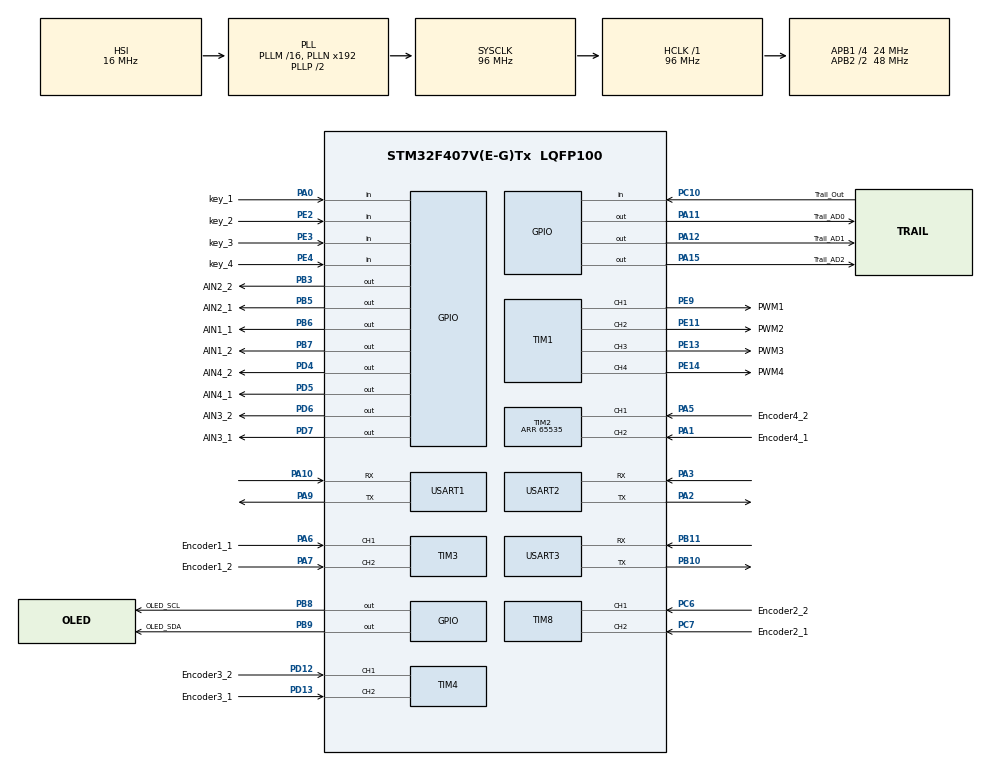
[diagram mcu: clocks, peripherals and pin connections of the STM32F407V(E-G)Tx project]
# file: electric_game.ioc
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Dma.Request0=USART1_TX
Dma.Request1=USART1_RX
Dma.Request2=USART2_RX
Dma.Request3=USART2_TX
Dma.Request4=USART3_RX
Dma.Request5=USART3_TX
Dma.USART1_RX.1.Direction=DMA_PERIPH_TO_MEMORY
Dma.USART1_RX.1.FIFOMode=DMA_FIFOMODE_DISABLE
Dma.USART1_RX.1.Instance=DMA2_Stream2
Dma.USART1_RX.1.MemDataAlignment=DMA_MDATAALIGN_BYTE
Dma.USART1_RX.1.MemInc=DMA_MINC_ENABLE
Dma.USART1_RX.1.Mode=DMA_CIRCULAR
Dma.USART1_RX.1.PeriphDataAlignment=DMA_PDATAALIGN_BYTE
Dma.USART1_RX.1.PeriphInc=DMA_PINC_DISABLE
Dma.USART1_RX.1.Priority=DMA_PRIORITY_LOW
Dma.USART1_TX.0.Direction=DMA_MEMORY_TO_PERIPH
Dma.USART1_TX.0.FIFOMode=DMA_FIFOMODE_DISABLE
Dma.USART1_TX.0.Instance=DMA2_Stream7
Dma.USART1_TX.0.MemDataAlignment=DMA_MDATAALIGN_BYTE
Dma.USART1_TX.0.MemInc=DMA_MINC_ENABLE
Dma.USART1_TX.0.Mode=DMA_NORMAL
Dma.USART1_TX.0.PeriphDataAlignment=DMA_PDATAALIGN_BYTE
Dma.USART1_TX.0.PeriphInc=DMA_PINC_DISABLE
Dma.USART1_TX.0.Priority=DMA_PRIORITY_LOW
Dma.USART2_RX.2.Direction=DMA_PERIPH_TO_MEMORY
Dma.USART2_RX.2.FIFOMode=DMA_FIFOMODE_DISABLE
Dma.USART2_RX.2.Instance=DMA1_Stream5
Dma.USART2_RX.2.MemDataAlignment=DMA_MDATAALIGN_BYTE
Dma.USART2_RX.2.MemInc=DMA_MINC_ENABLE
Dma.USART2_RX.2.Mode=DMA_CIRCULAR
Dma.USART2_RX.2.PeriphDataAlignment=DMA_PDATAALIGN_BYTE
Dma.USART2_RX.2.PeriphInc=DMA_PINC_DISABLE
Dma.USART2_RX.2.Priority=DMA_PRIORITY_LOW
Dma.USART2_TX.3.Direction=DMA_MEMORY_TO_PERIPH
Dma.USART2_TX.3.FIFOMode=DMA_FIFOMODE_DISABLE
Dma.USART2_TX.3.Instance=DMA1_Stream6
Dma.USART2_TX.3.MemDataAlignment=DMA_MDATAALIGN_BYTE
Dma.USART2_TX.3.MemInc=DMA_MINC_ENABLE
Dma.USART2_TX.3.Mode=DMA_NORMAL
Dma.USART2_TX.3.PeriphDataAlignment=DMA_PDATAALIGN_BYTE
Dma.USART2_TX.3.PeriphInc=DMA_PINC_DISABLE
Dma.USART2_TX.3.Priority=DMA_PRIORITY_LOW
Dma.USART3_RX.4.Direction=DMA_PERIPH_TO_MEMORY
Dma.USART3_RX.4.FIFOMode=DMA_FIFOMODE_DISABLE
Dma.USART3_RX.4.Instance=DMA1_Stream1
Dma.USART3_RX.4.MemDataAlignment=DMA_MDATAALIGN_BYTE
Dma.USART3_RX.4.MemInc=DMA_MINC_ENABLE
Dma.USART3_RX.4.Mode=DMA_CIRCULAR
Dma.USART3_RX.4.PeriphDataAlignment=DMA_PDATAALIGN_BYTE
Dma.USART3_RX.4.PeriphInc=DMA_PINC_DISABLE
Dma.USART3_RX.4.Priority=DMA_PRIORITY_LOW
Dma.USART3_TX.5.Direction=DMA_MEMORY_TO_PERIPH
Dma.USART3_TX.5.FIFOMode=DMA_FIFOMODE_DISABLE
Dma.USART3_TX.5.Instance=DMA1_Stream3
Dma.USART3_TX.5.MemDataAlignment=DMA_MDATAALIGN_BYTE
Dma.USART3_TX.5.MemInc=DMA_MINC_ENABLE
Dma.USART3_TX.5.Mode=DMA_NORMAL
Dma.USART3_TX.5.PeriphDataAlignment=DMA_PDATAALIGN_BYTE
Dma.USART3_TX.5.PeriphInc=DMA_PINC_DISABLE
Dma.USART3_TX.5.Priority=DMA_PRIORITY_LOW
Mcu.Family=STM32F4
Mcu.Name=STM32F407V(E-G)Tx
Mcu.Package=LQFP100
NVIC.DMA1_Stream1_IRQn=true\:0\:0\:false\:false\:true\:false\:true\:true
NVIC.DMA1_Stream3_IRQn=true\:0\:0\:false\:false\:true\:false\:true\:true
NVIC.DMA1_Stream5_IRQn=true\:0\:0\:false\:false\:true\:false\:true\:true
NVIC.DMA1_Stream6_IRQn=true\:0\:0\:false\:false\:true\:false\:true\:true
NVIC.DMA2_Stream2_IRQn=true\:0\:0\:false\:false\:true\:false\:true\:true
NVIC.DMA2_Stream7_IRQn=true\:0\:0\:false\:false\:true\:false\:true\:true
NVIC.PriorityGroup=NVIC_PRIORITYGROUP_4
NVIC.TIM5_IRQn=true\:0\:0\:false\:false\:true\:true\:true\:true
NVIC.USART1_IRQn=true\:0\:0\:false\:false\:true\:true\:true\:true
NVIC.USART2_IRQn=true\:0\:0\:false\:false\:true\:true\:true\:true
PA0-WKUP.GPIO_Label=key_1
PA0-WKUP.GPIO_PuPd=GPIO_PULLDOWN
PA0-WKUP.Signal=GPIO_Input
PA1.GPIO_Label=Encoder4_1
PA1.Signal=S_TIM2_CH2
PA10.Mode=Asynchronous
PA10.Signal=USART1_RX
PA11.GPIO_Label=Trail_AD0
PA11.Signal=GPIO_Output
PA12.GPIO_Label=Trail_AD1
PA12.Signal=GPIO_Output
PA13.Mode=Serial_Wire
PA13.Signal=SYS_JTMS-SWDIO
PA14.Mode=Serial_Wire
PA14.Signal=SYS_JTCK-SWCLK
PA15.GPIO_Label=Trail_AD2
PA15.Signal=GPIO_Output
PA2.Mode=Asynchronous
PA2.Signal=USART2_TX
PA3.Mode=Asynchronous
PA3.Signal=USART2_RX
PA5.GPIO_Label=Encoder4_2
PA5.Signal=S_TIM2_CH1_ETR
PA6.GPIO_Label=Encoder1_1
PA6.Signal=S_TIM3_CH1
PA7.GPIO_Label=Encoder1_2
PA7.Signal=S_TIM3_CH2
PA9.Mode=Asynchronous
PA9.Signal=USART1_TX
PB10.Mode=Asynchronous
PB10.Signal=USART3_TX
PB11.Mode=Asynchronous
PB11.Signal=USART3_RX
PB3.GPIO_Label=AIN2_2
PB3.Signal=GPIO_Output
PB5.GPIO_Label=AIN2_1
PB5.Signal=GPIO_Output
PB6.GPIO_Label=AIN1_1
PB6.Signal=GPIO_Output
PB7.GPIO_Label=AIN1_2
PB7.Signal=GPIO_Output
PB8.GPIO_Label=OLED_SCL
PB8.GPIO_ModeDefaultOutputPP=GPIO_MODE_OUTPUT_OD
PB8.GPIO_PuPd=GPIO_PULLUP
PB8.GPIO_Speed=GPIO_SPEED_FREQ_VERY_HIGH
PB8.Signal=GPIO_Output
PB9.GPIO_Label=OLED_SDA
PB9.GPIO_ModeDefaultOutputPP=GPIO_MODE_OUTPUT_OD
PB9.GPIO_PuPd=GPIO_PULLUP
PB9.GPIO_Speed=GPIO_SPEED_FREQ_VERY_HIGH
PB9.Signal=GPIO_Output
PC10.GPIO_Label=Trail_Out
PC10.GPIO_PuPd=GPIO_PULLUP
PC10.Signal=GPIO_Input
PC6.GPIO_Label=Encoder2_2
PC6.Signal=S_TIM8_CH1
PC7.GPIO_Label=Encoder2_1
PC7.Signal=S_TIM8_CH2
PD12.GPIO_Label=Encoder3_2
PD12.Signal=S_TIM4_CH1
PD13.GPIO_Label=Encoder3_1
PD13.Signal=S_TIM4_CH2
PD4.GPIO_Label=AIN4_2
PD4.Signal=GPIO_Output
PD5.GPIO_Label=AIN4_1
PD5.Signal=GPIO_Output
PD6.GPIO_Label=AIN3_2
PD6.Signal=GPIO_Output
PD7.GPIO_Label=AIN3_1
PD7.Signal=GPIO_Output
PE11.GPIO_Label=PWM2
PE11.Signal=S_TIM1_CH2
PE13.GPIO_Label=PWM3
PE13.Signal=S_TIM1_CH3
PE14.GPIO_Label=PWM4
PE14.Signal=S_TIM1_CH4
PE2.GPIO_Label=key_2
PE2.GPIO_PuPd=GPIO_PULLUP
PE2.Signal=GPIO_Input
PE3.GPIO_Label=key_3
PE3.GPIO_PuPd=GPIO_PULLUP
PE3.Signal=GPIO_Input
PE4.GPIO_Label=key_4
PE4.GPIO_PuPd=GPIO_PULLUP
PE4.Signal=GPIO_Input
PE9.GPIO_Label=PWM1
PE9.Signal=S_TIM1_CH1
PH0-OSC_IN.Mode=HSE-External-Oscillator
PH0-OSC_IN.Signal=RCC_OSC_IN
PH1-OSC_OUT.Mode=HSE-External-Oscillator
PH1-OSC_OUT.Signal=RCC_OSC_OUT
ProjectManager.HeapSize=0x200
ProjectManager.StackSize=0x400
ProjectManager.TargetToolchain=MDK-ARM V5.32
RCC.AHBFreq_Value=96000000
RCC.APB1CLKDivider=RCC_HCLK_DIV4
RCC.APB1Freq_Value=24000000
RCC.APB1TimFreq_Value=48000000
RCC.APB2CLKDivider=RCC_HCLK_DIV2
RCC.APB2Freq_Value=48000000
RCC.APB2TimFreq_Value=96000000
RCC.CortexFreq_Value=96000000
RCC.HCLKFreq_Value=96000000
RCC.HSE_VALUE=25000000
RCC.HSI_VALUE=16000000
RCC.LSE_VALUE=32768
RCC.SYSCLKFreq_VALUE=96000000
RCC.SYSCLKSource=RCC_SYSCLKSOURCE_PLLCLK
RCC.VCOOutputFreq_Value=192000000
SH.S_TIM1_CH1.0=TIM1_CH1,PWM Generation1 CH1
SH.S_TIM1_CH2.0=TIM1_CH2,PWM Generation2 CH2
SH.S_TIM1_CH3.0=TIM1_CH3,PWM Generation3 CH3
SH.S_TIM1_CH4.0=TIM1_CH4,PWM Generation4 CH4
SH.S_TIM2_CH1_ETR.0=TIM2_CH1,Encoder_Interface
SH.S_TIM2_CH2.0=TIM2_CH2,Encoder_Interface
SH.S_TIM3_CH1.0=TIM3_CH1,Encoder_Interface
SH.S_TIM3_CH2.0=TIM3_CH2,Encoder_Interface
SH.S_TIM4_CH1.0=TIM4_CH1,Encoder_Interface
SH.S_TIM4_CH2.0=TIM4_CH2,Encoder_Interface
SH.S_TIM8_CH1.0=TIM8_CH1,Encoder_Interface
SH.S_TIM8_CH2.0=TIM8_CH2,Encoder_Interface
TIM1.Channel-PWM\ Generation1\ CH1=TIM_CHANNEL_1
TIM1.Channel-PWM\ Generation2\ CH2=TIM_CHANNEL_2
TIM1.Channel-PWM\ Generation3\ CH3=TIM_CHANNEL_3
TIM1.Channel-PWM\ Generation4\ CH4=TIM_CHANNEL_4
TIM2.EncoderMode=TIM_ENCODERMODE_TI12
TIM2.Period=65535
TIM3.EncoderMode=TIM_ENCODERMODE_TI12
TIM4.EncoderMode=TIM_ENCODERMODE_TI12
TIM5.Period=99
TIM5.Prescaler=8399
TIM8.EncoderMode=TIM_ENCODERMODE_TI12
USART1.VirtualMode=VM_ASYNC
USART2.VirtualMode=VM_ASYNC
USART3.VirtualMode=VM_ASYNC
VP_TIM5_VS_ClockSourceINT.Mode=Internal
board=custom

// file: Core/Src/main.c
/* USER CODE BEGIN Header */
/**
  ******************************************************************************
  * @file           : main.c
  * @brief          : Main program body
  ******************************************************************************
  * @attention
  *
  * Copyright (c) 2026 STMicroelectronics.
  * All rights reserved.
  *
  * This software is licensed under terms that can be found in the LICENSE file
  * in the root directory of this software component.
  * If no LICENSE file comes with this software, it is provided AS-IS.
  *
  ******************************************************************************
  */
/* USER CODE END Header */
#include "main.h"
#include "dma.h"
#include "tim.h"
#include "usart.h"
#include "gpio.h"

/* USER CODE BEGIN Includes */
#include "OLED.h"
#include "app.h"
/* USER CODE END Includes */

void SystemClock_Config(void);

int main(void)
{

  /* MCU Configuration--------------------------------------------------------*/

  /* Reset of all peripherals, Initializes the Flash interface and the Systick. */
  HAL_Init();

  /* Configure the system clock */
  SystemClock_Config();

  /* Initialize all configured peripherals */
  MX_GPIO_Init();
  MX_DMA_Init();
  MX_TIM1_Init();
  MX_TIM2_Init();
  MX_TIM3_Init();
  MX_TIM4_Init();
  MX_TIM8_Init();
  MX_USART1_UART_Init();
  MX_USART2_UART_Init();
  MX_USART3_UART_Init();
  MX_TIM5_Init();
  /* USER CODE BEGIN 2 */
  App_Init();
  HAL_TIM_Base_Start_IT(&htim5);
  __HAL_UART_ENABLE(&huart1);
  /* USER CODE END 2 */

  /* Infinite loop */
  while (1)
  {

    /* USER CODE BEGIN 3 */
    App_KeyScan();

    static uint32_t last_disp = 0;
    uint32_t now = HAL_GetTick();
    if (now - last_disp >= 100) {
      last_disp = now;
      OLED_Clear();
      OLED_ShowString(0, 0, "M3:", OLED_6X8);
      OLED_ShowSignedNum(18, 0, (int32_t)g_m3_speed_mmps, 3, OLED_6X8);
      OLED_ShowString(48, 0, "M4:", OLED_6X8);
      OLED_ShowSignedNum(66, 0, (int32_t)g_m4_speed_mmps, 3, OLED_6X8);
      OLED_ShowString(0, 8, "ST:", OLED_6X8);
      switch (g_app_state) {
        case APP_STATE_IDLE:    OLED_ShowString(24, 8, "IDLE", OLED_6X8); break;
        case APP_STATE_RUNNING:  OLED_ShowString(24, 8, "RUN",  OLED_6X8); break;
        case APP_STATE_DONE:    OLED_ShowString(24, 8, "DONE", OLED_6X8); break;
      }
      OLED_ShowString(0, 16, "MODE:", OLED_6X8);
      switch (g_app_mode) {
        case APP_MODE_KEY2: OLED_ShowString(36, 16, "key2", OLED_6X8); break;
        case APP_MODE_KEY3: OLED_ShowString(36, 16, "key3", OLED_6X8); break;
        case APP_MODE_KEY4: OLED_ShowString(36, 16, "key4", OLED_6X8); break;
        default:            OLED_ShowString(36, 16, "----", OLED_6X8); break;
      }

      /* 显示运行时间：
       * - 正在跑：显示当前经过时间
       * - 触发过丢线停车：显示定格时间
       * - 还没跑过：显示 ---- */
      uint32_t elapsed_ms = 0;
      if (g_app_state == APP_STATE_RUNNING && g_run_started) {
        elapsed_ms = now - g_run_start_tick;
      } else if (g_run_had_finish) {
        elapsed_ms = g_run_stop_tick - g_run_start_tick;
      }
      uint32_t sec_int = elapsed_ms / 1000U;
      uint32_t sec_frac = (elapsed_ms % 1000U) / 100U;
      OLED_ShowString(0, 24, "T:", OLED_6X8);
      if (!g_run_started) {
        OLED_ShowString(12, 24, "----", OLED_6X8);
      } else {
        OLED_ShowNum(12, 24, sec_int, 3, OLED_6X8);
        OLED_ShowChar(36, 24, '.', OLED_6X8);
        OLED_ShowNum(42, 24, sec_frac, 1, OLED_6X8);
        OLED_ShowString(54, 24, "s", OLED_6X8);
      }

      /* 显示已行走距离（毫米），保留一位小数 */
      OLED_ShowString(0, 32, "D:", OLED_6X8);
      if (!g_run_started) {
        OLED_ShowString(12, 32, "----", OLED_6X8);
      } else {
        OLED_ShowFloatNum(12, 32, g_accum_distance_mm, 4, 1, OLED_6X8);
        OLED_ShowString(54, 32, "mm", OLED_6X8);
      }
      OLED_Update();
    }
  }
  /* USER CODE END 3 */
}

void SystemClock_Config(void)
{
  RCC_OscInitTypeDef RCC_OscInitStruct = {0};
  RCC_ClkInitTypeDef RCC_ClkInitStruct = {0};

  /** Configure the main internal regulator output voltage
  */
  __HAL_RCC_PWR_CLK_ENABLE();
  __HAL_PWR_VOLTAGESCALING_CONFIG(PWR_REGULATOR_VOLTAGE_SCALE1);

  /** Initializes the RCC Oscillators according to the specified parameters
  * in the RCC_OscInitTypeDef structure.
  */
  RCC_OscInitStruct.OscillatorType = RCC_OSCILLATORTYPE_HSI;
  RCC_OscInitStruct.HSIState = RCC_HSI_ON;
  RCC_OscInitStruct.HSICalibrationValue = RCC_HSICALIBRATION_DEFAULT;
  RCC_OscInitStruct.PLL.PLLState = RCC_PLL_ON;
  RCC_OscInitStruct.PLL.PLLSource = RCC_PLLSOURCE_HSI;
  RCC_OscInitStruct.PLL.PLLM = 16;
  RCC_OscInitStruct.PLL.PLLN = 192;
  RCC_OscInitStruct.PLL.PLLP = RCC_PLLP_DIV2;
  RCC_OscInitStruct.PLL.PLLQ = 4;
  if (HAL_RCC_OscConfig(&RCC_OscInitStruct) != HAL_OK)
  {
    Error_Handler();
  }

  /** Initializes the CPU, AHB and APB buses clocks
  */
  RCC_ClkInitStruct.ClockType = RCC_CLOCKTYPE_HCLK|RCC_CLOCKTYPE_SYSCLK
                              |RCC_CLOCKTYPE_PCLK1|RCC_CLOCKTYPE_PCLK2;
  RCC_ClkInitStruct.SYSCLKSource = RCC_SYSCLKSOURCE_PLLCLK;
  RCC_ClkInitStruct.AHBCLKDivider = RCC_SYSCLK_DIV1;
  RCC_ClkInitStruct.APB1CLKDivider = RCC_HCLK_DIV4;
  RCC_ClkInitStruct.APB2CLKDivider = RCC_HCLK_DIV2;

  if (HAL_RCC_ClockConfig(&RCC_ClkInitStruct, FLASH_LATENCY_3) != HAL_OK)
  {
    Error_Handler();
  }
}

/* USER CODE BEGIN 4 */
void HAL_TIM_PeriodElapsedCallback(TIM_HandleTypeDef *htim)
{
  if (htim == &htim5) {
    Cascade_Update();
  }
}
/* USER CODE END 4 */

void Error_Handler(void)
{
  __disable_irq();
  while (1)
  {
  }
}
